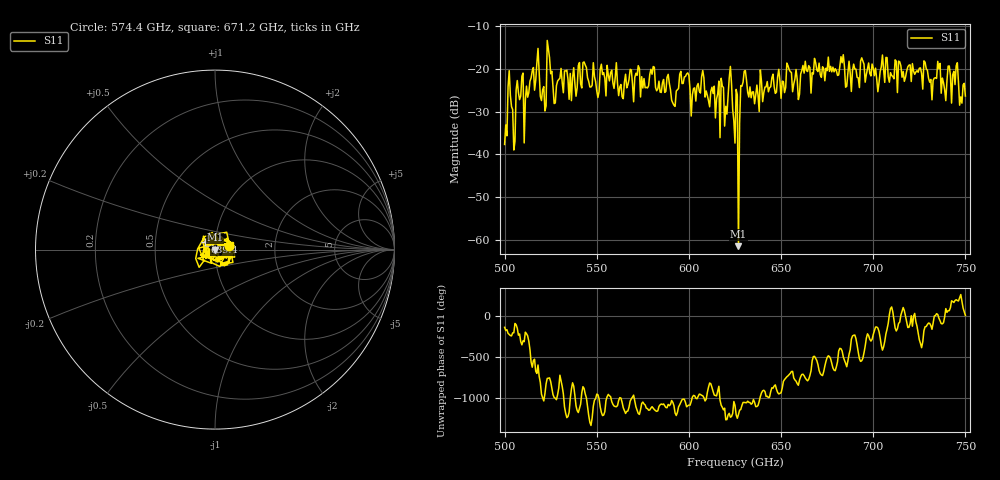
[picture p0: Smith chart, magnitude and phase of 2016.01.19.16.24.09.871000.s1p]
!Created with skrf (http://scikit-rf.org).
# GHz S RI R 50.0
!freq ReS11 ImS11
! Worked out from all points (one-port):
!   401 points, 500 GHz to 750 GHz, reference 50 ohm
!   lowest |S11| = -61.5 dB at 626.9 GHz (marker M1), VSWR 1.00, Z = 50 - j0.0728 ohm
!   |S11| at or under -10 dB: start of sweep to end of sweep
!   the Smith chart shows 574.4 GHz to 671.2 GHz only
!   S11 on the Smith chart (normalised r, x): 574.4 GHz: 1.17, +0.05; 639.4 GHz: 0.89, +0.07; 671.2 GHz: 1.17, +0.06
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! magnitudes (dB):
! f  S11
! 500 GHz  -37.7
! 503.1 GHz  -26.2
! 504.4 GHz  -29.6
! 508.1 GHz  -27.2
! 516.9 GHz  -22.8
! 521.2 GHz  -24.2
! 524.4 GHz  -17.4
! 527.5 GHz  -28.0
! 531.2 GHz  -23.2
! 562.5 GHz  -24.2
! 574.4 GHz  -21.8
! 593.8 GHz  -24.9
! 598.8 GHz  -21.2
! 602.5 GHz  -24.6
! 606.9 GHz  -21.9
! 620 GHz  -28.8
! 622.5 GHz  -19.4
! 625 GHz  -37.4
! 625.6 GHz  -24.8
! 626.9 GHz  -61.5
! 628.1 GHz  -23.9
! 629.4 GHz  -23.1
! 639.4 GHz  -23.0
! 656.2 GHz  -25.4
! 671.2 GHz  -21.4
! 687.5 GHz  -20.9
! 718.8 GHz  -19.5
! 750 GHz  -26.4
